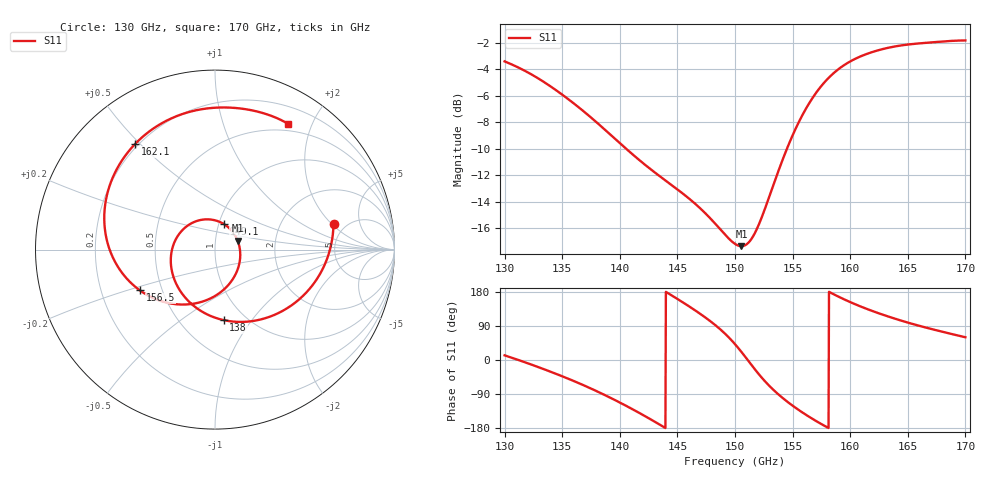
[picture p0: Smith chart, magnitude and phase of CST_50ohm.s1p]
! TOUCHSTONE file generated by CST MICROWAVE STUDIO
! Date and time: Thu Nov 19 19:46:27 2026
! Project name: WideGround_Production.cst
! Parameters = {array_spacing=1.12; eps_r=3.5; feed_width=0.1688; ground_length=1.5; ground_width=3.15; inset_gap=0.02; inset_length=0.165; junction_y=-0.405; launch_length=0.5; loss_tangent=0.0027; mesh_box=54; mesh_near=36; metal_thickness=0.002; patch_length=0.5148; patch_width=0.667; port_halfwi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
! Header version: 2024
! Port assignment regex: !\s*Touchstone port\s*([0-9]+)\s*=\s*(CST MWS port|CST DES external port|CST DES block port)\s*(.+)\s* \(\"(.*)\"\)(\s*mode\s*([0-9]+))?.*
! Touchstone port assignment:
! Touchstone port 1 = CST MWS port 1 ("50ohm_microstrip")
# GHz S RI R 50
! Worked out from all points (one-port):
!   1001 points, 130 GHz to 170 GHz, reference 50 ohm
!   lowest |S11| = -17.4 dB at 150.6 GHz (marker M1), VSWR 1.31, Z = 64.1 + j6.43 ohm
!   |S11| at or under -10 dB: 140.6 GHz to 154.5 GHz (13.96 GHz wide, 9.46 % of centre)
!   S11 on the Smith chart (normalised r, x): 130 GHz: 4.00, +2.11; 138 GHz: 0.80, -0.74; 149.1 GHz: 1.06, +0.31; 156.5 GHz: 0.37, -0.22; 162.1 GHz: 0.19, +0.48; 170 GHz: 0.41, +1.66
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130  0.6604 0.1435
132.32  0.5906 -0.1258
133.72  0.4899 -0.258
135  0.3706 -0.3447
136.52  0.2104 -0.3979
138.04  0.0487 -0.3929
140  -0.1255 -0.3075
142.52  -0.2404 -0.1183
145  -0.2102 0.0718
147.16  -0.0869 0.1635
149.12  0.0517 0.1409
150  0.103 0.0923
150.56  0.1263 0.0493
151.56  0.1401 -0.0459
152.72  0.0969 -0.1681
153.96  -0.0276 -0.2731
155  -0.1803 -0.3061
155.76  -0.3026 -0.2861
156.52  -0.4182 -0.2272
157.44  -0.5304 -0.1119
158.28  -0.5941 0.0211
159.12  -0.6169 0.1639
160  -0.6008 0.3088
162.12  -0.4455 0.588
163.56  -0.2888 0.7082
165  -0.1186 0.7733
167.4  0.1512 0.785
170  0.4054 0.702
